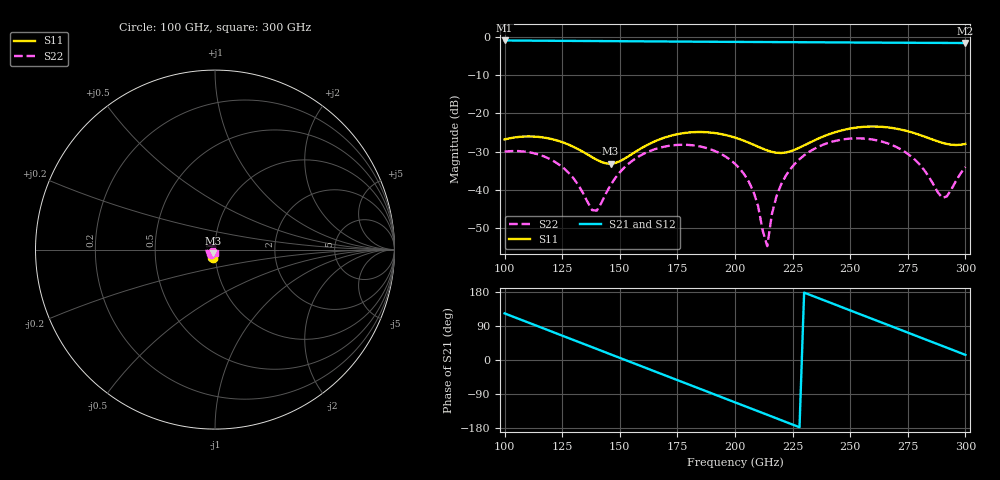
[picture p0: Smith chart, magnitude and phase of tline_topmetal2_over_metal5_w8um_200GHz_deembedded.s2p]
! Created with skrf 2.0.1 (http://scikit-rf.org).
# GHz S DB R 50.0
!freq dBS11 angS11 dBS21 angS21 dBS12 angS12 dBS22 angS22
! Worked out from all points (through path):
!   101 points, 100 GHz to 300 GHz, reference 50 ohm
!   highest |S21| = -1.02 dB at 100 GHz (marker M1); lowest = -1.7 dB at 300 GHz (marker M2)
!   group delay of S21, straight-line fit = 6.52 ps
!   lowest |S11| = -33.1 dB at 146 GHz (marker M3), VSWR 1.05, Z = 49 - j1.92 ohm
!   |S11| at or under -10 dB: start of sweep to end of sweep
!   |S22| runs from -54.6 to -26.5 dB; largest |S21 - S12| = 1.5e-14
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100  -26.81 -101.1  -1.02 123.0  -1.02 123.0  -29.99 -132.8
110  -26.02 -117.3  -1.07 99.5  -1.07 99.5  -30.08 -155.5
120  -26.65 -132.1  -1.11 76.0  -1.11 76.0  -32.02 -177.2
134  -30.02 -141.9  -1.16 43.2  -1.16 43.2  -40.73 170.7
138  -31.43 -138.5  -1.17 33.8  -1.17 33.8  -45.21 -161.8
140  -32.11 -134.9  -1.18 29.1  -1.18 29.1  -45.36 -134.7
146  -33.15 -116.9  -1.20 15.0  -1.20 15.0  -38.68 -100.8
156  -30.33 -93.5  -1.24 -8.5  -1.24 -8.5  -32.11 -111.4
168  -26.62 -96.5  -1.28 -36.7  -1.28 -36.7  -28.86 -137.6
184  -24.87 -115.2  -1.34 -74.2  -1.34 -74.2  -28.54 -176.7
200  -26.32 -131.6  -1.40 -111.7  -1.40 -111.7  -33.15 141.5
208  -28.17 -132.6  -1.42 -130.5  -1.42 -130.5  -40.36 115.9
214  -29.67 -126.2  -1.44 -144.6  -1.44 -144.6  -54.61 -12.8
216  -30.04 -122.3  -1.44 -149.3  -1.44 -149.3  -46.29 -56.3
220  -30.34 -112.7  -1.45 -158.6  -1.45 -158.6  -38.55 -77.7
226  -29.47 -99.2  -1.47 -172.7  -1.47 -172.7  -33.13 -96.7
234  -27.18 -91.8  -1.50 168.5  -1.50 168.5  -29.38 -118.8
252  -23.77 -103.3  -1.56 126.2  -1.56 126.2  -26.52 -167.2
268  -23.80 -120.1  -1.61 88.7  -1.61 88.7  -28.22 148.0
280  -25.59 -126.9  -1.64 60.5  -1.64 60.5  -33.24 106.9
290  -27.68 -120.5  -1.66 37.1  -1.66 37.1  -42.03 20.5
300  -27.98 -101.6  -1.69 13.6  -1.69 13.6  -33.95 -82.1
